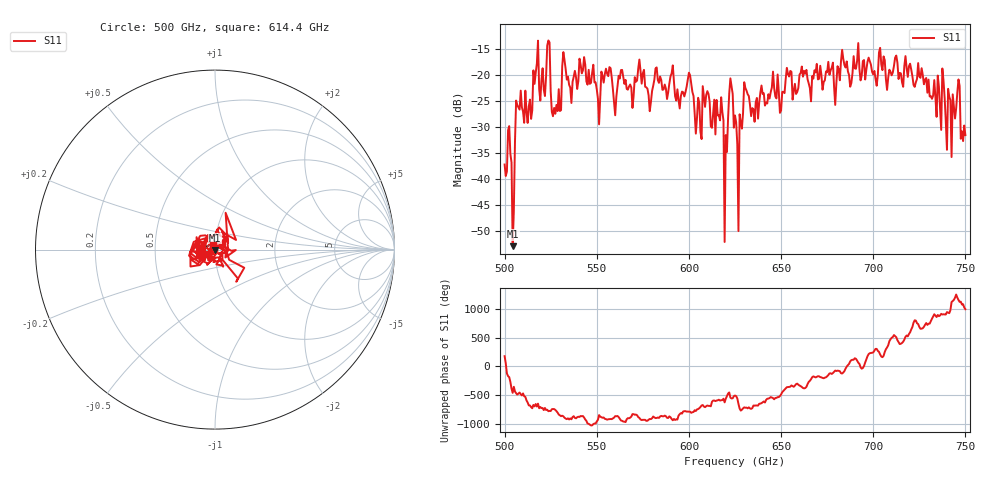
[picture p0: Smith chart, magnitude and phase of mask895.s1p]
!Created with skrf (http://scikit-rf.org).
# GHz S MA R 50.0
!freq magS11 angS11
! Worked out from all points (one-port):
!   401 points, 500 GHz to 750 GHz, reference 50 ohm
!   lowest |S11| = -52.8 dB at 504.4 GHz (marker M1), VSWR 1.00, Z = 50 - j0.226 ohm
!   |S11| at or under -10 dB: start of sweep to end of sweep
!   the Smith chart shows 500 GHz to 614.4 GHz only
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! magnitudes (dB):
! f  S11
! 500 GHz  -37.2
! 502.5 GHz  -29.8
! 504.4 GHz  -52.8
! 507.5 GHz  -26.2
! 513.8 GHz  -24.7
! 516.9 GHz  -19.6
! 520.6 GHz  -18.7
! 523.8 GHz  -13.4
! 526.9 GHz  -26.3
! 531.2 GHz  -18.4
! 560 GHz  -27.7
! 562.5 GHz  -20.7
! 593.8 GHz  -22.7
! 600 GHz  -19.5
! 605 GHz  -24.4
! 616.2 GHz  -27.7
! 620 GHz  -31.5
! 622.5 GHz  -20.6
! 625 GHz  -27.7
! 627.5 GHz  -27.5
! 631.2 GHz  -23.0
! 634.4 GHz  -26.3
! 656.2 GHz  -24.7
! 687.5 GHz  -22.2
! 718.8 GHz  -20.3
! 741.2 GHz  -24.2
! 745.6 GHz  -23.3
! 750 GHz  -31.5
